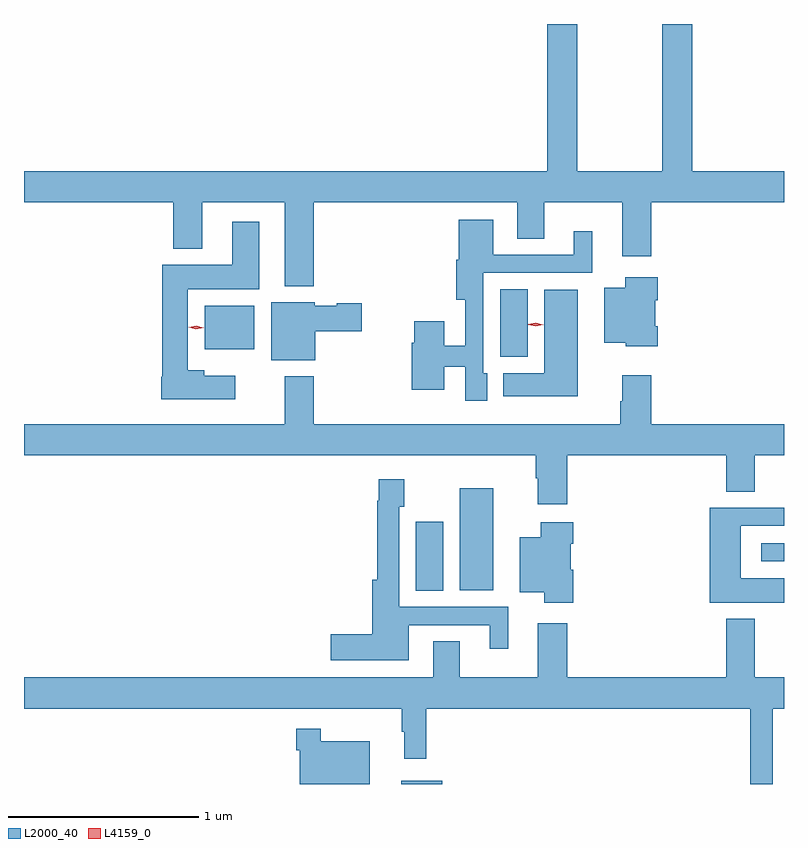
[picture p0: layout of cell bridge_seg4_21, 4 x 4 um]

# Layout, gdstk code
import gdstk
lib = gdstk.Library(unit=1e-6, precision=1e-09)
def R(c, l, rs):  # rectangles x0, y0, x1, y1
    for r in rs: c.add(gdstk.rectangle(r[:2], r[2:], *l))
def P(c, l, *ps):  # polygons
    for p in ps: c.add(gdstk.Polygon(p, *l))
L2000_40 = (2000, 40)
L4159_0 = (4159, 0)

bridge_seg4_21 = lib.new_cell('bridge_seg4_21')
R(bridge_seg4_21, L2000_40, [(1011.317,764.455,1011.532,764.473), (1011.395,765.472,1011.538,765.835), (1011.626,765.476,1011.802,766.012), (1013.211,765.627,1013.332,765.723), (1011.839,766.703,1011.982,767.06), (1010.282,766.742,1010.545,766.972)])
P(bridge_seg4_21, L2000_40, [(1010.858,767.516),(1011.929,767.516),(1011.929,767.326),(1012.069,767.326),(1012.069,767.516),(1012.481,767.516),(1012.481,767.232),(1012.634,767.232),(1012.634,767.516),(1013.332,767.516),(1013.332,767.68),(1012.85,767.68),(1012.85,768.455),(1012.69,768.455),(1012.69,767.68),(1012.245,767.68),(1012.245,768.455),(1012.085,768.455),(1012.085,767.68),(1009.332,767.68),(1009.332,767.516),(1010.117,767.516),(1010.117,767.273),(1010.269,767.273),(1010.269,767.516),(1010.705,767.516),(1010.705,767.075),(1010.858,767.075)],
  [(1011.769,766.617),(1011.75,766.617),(1011.75,767.145),(1012.324,767.145),(1012.324,767.365),(1012.226,767.365),(1012.226,767.241),(1011.802,767.241),(1011.802,767.425),(1011.62,767.425),(1011.62,767.214),(1011.608,767.214),(1011.608,767.003),(1011.654,767.003),(1011.654,766.761),(1011.544,766.761),(1011.544,766.891),(1011.386,766.891),(1011.386,766.778),(1011.374,766.778),(1011.374,766.53),(1011.544,766.53),(1011.544,766.65),(1011.654,766.65),(1011.654,766.473),(1011.769,766.473)],
  [(1010.443,766.603),(1010.281,766.603),(1010.281,766.633),(1010.194,766.633),(1010.194,767.06),(1010.569,767.06),(1010.569,767.413),(1010.429,767.413),(1010.429,767.188),(1010.06,767.188),(1010.06,766.599),(1010.054,766.599),(1010.054,766.481),(1010.443,766.481)],
  [(1012.667,766.864),(1012.654,766.864),(1012.654,767),(1012.667,767),(1012.667,767.122),(1012.496,767.122),(1012.496,767.068),(1012.385,767.068),(1012.385,766.778),(1012.5,766.778),(1012.5,766.76),(1012.667,766.76)],
  [(1012.246,767.056),(1012.07,767.056),(1012.07,766.618),(1011.854,766.618),(1011.854,766.496),(1012.246,766.496)],
  [(1010.866,766.838),(1011.109,766.838),(1011.109,766.985),(1010.979,766.985),(1010.979,766.972),(1010.862,766.972),(1010.862,766.99),(1010.633,766.99),(1010.633,766.685),(1010.866,766.685)],
  [(1012.19,766.184),(1013.027,766.184),(1013.027,765.994),(1013.179,765.994),(1013.179,766.184),(1013.332,766.184),(1013.332,766.348),(1012.634,766.348),(1012.634,766.606),(1012.481,766.606),(1012.481,766.469),(1012.469,766.469),(1012.469,766.348),(1010.858,766.348),(1010.858,766.6),(1010.705,766.6),(1010.705,766.348),(1009.332,766.348),(1009.332,766.184),(1012.025,766.184),(1012.025,766.064),(1012.037,766.064),(1012.037,765.927),(1012.19,765.927)],
  [(1011.358,765.291),(1011.782,765.291),(1011.782,765.168),(1011.88,765.168),(1011.88,765.387),(1011.306,765.387),(1011.306,765.915),(1011.333,765.915),(1011.333,766.06),(1011.198,766.06),(1011.198,765.947),(1011.19,765.947),(1011.19,765.529),(1011.164,765.529),(1011.164,765.242),(1010.946,765.242),(1010.946,765.107),(1011.358,765.107)],
  [(1013.332,765.538),(1013.104,765.538),(1013.104,765.813),(1013.332,765.813),(1013.332,765.909),(1012.94,765.909),(1012.94,765.41),(1013.332,765.41)],
  [(1012.223,765.583),(1012.21,765.583),(1012.21,765.719),(1012.223,765.719),(1012.223,765.832),(1012.052,765.832),(1012.052,765.754),(1011.941,765.754),(1011.941,765.464),(1012.07,765.464),(1012.07,765.41),(1012.223,765.41)],
  [(1013.272,764.852),(1013.332,764.852),(1013.332,765.016),(1013.179,765.016),(1013.179,765.325),(1013.027,765.325),(1013.027,765.016),(1012.19,765.016),(1012.19,765.301),(1012.037,765.301),(1012.037,765.016),(1011.625,765.016),(1011.625,765.206),(1011.485,765.206),(1011.485,765.016),(1009.332,765.016),(1009.332,764.852),(1011.321,764.852),(1011.321,764.729),(1011.332,764.729),(1011.332,764.589),(1011.449,764.589),(1011.449,764.852),(1013.155,764.852),(1013.155,764.455),(1013.272,764.455)],
  [(1011.153,764.68),(1010.893,764.68),(1010.893,764.746),(1010.764,764.746),(1010.764,764.633),(1010.784,764.633),(1010.784,764.455),(1011.153,764.455)])
P(bridge_seg4_21, L4159_0, [(1012.025,766.863),(1011.985,766.873),(1011.985,766.874),(1011.985,766.874),(1012.025,766.883),(1012.064,766.873),(1012.065,766.873),(1012.064,766.873)],
  [(1010.237,766.848),(1010.198,766.858),(1010.197,766.858),(1010.198,766.858),(1010.238,766.868),(1010.277,766.857),(1010.278,766.857),(1010.277,766.857)])

lib.write_gds('bridge_seg4_21.gds')
